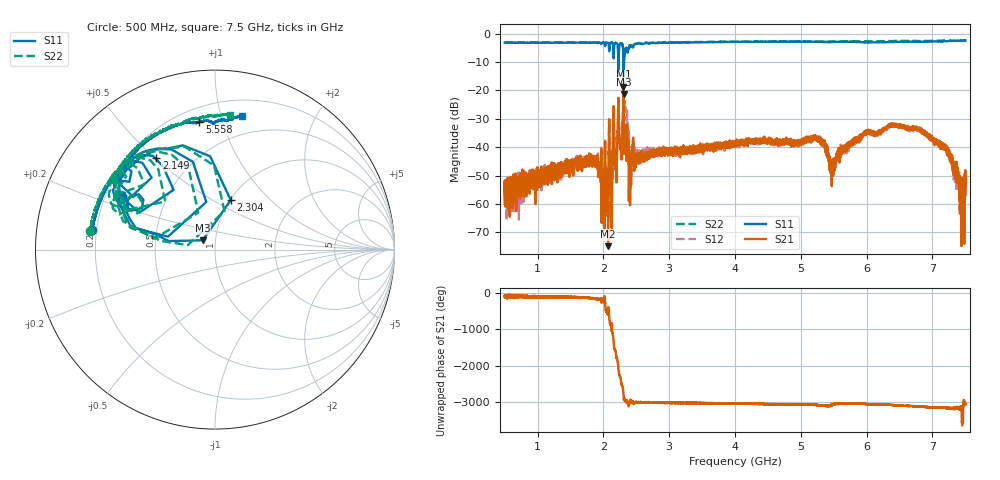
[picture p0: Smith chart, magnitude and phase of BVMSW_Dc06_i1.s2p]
!Keysight Technologies,M9374A,MY55442783,A.12.55.05
!Date: Friday, May 21, 2021 09:35:37
!Correction: S11(Full 2 Port(1,2))
!S21(Full 2 Port(1,2))
!S12(Full 2 Port(1,2))
!S22(Full 2 Port(1,2))
!S2P File: Measurements: S11, S21, S12, S22:
# Hz S  RI  R 50
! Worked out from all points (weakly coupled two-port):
!   7001 points, 500 MHz to 7.5 GHz, reference 50 ohm
!   highest |S21| = -18.62 dB at 2.306 GHz (marker M1); lowest = -74.8 dB at 2.072 GHz (marker M2)
!   lowest |S11| = -21.3 dB at 2.308 GHz (marker M3), VSWR 1.19, Z = 43.4 + j4.51 ohm
!   |S11| at or under -10 dB: 2.227502 GHz to 2.233417 GHz (5.915 MHz wide, 0.265 % of centre); 2.303679 GHz to 2.314767 GHz (11.09 MHz wide, 0.48 % of centre)
!   |S22| runs from -22.9 to -2.4 dB; largest |S21 - S12| = 0.054
!   S11 on the Smith chart (normalised r, x): 500 MHz: 0.18, +0.08; 2.149 GHz: 0.31, +0.51; 2.304 GHz: 1.01, +0.61; 5.558 GHz: 0.29, +0.84; 7.5 GHz: 0.33, +1.16
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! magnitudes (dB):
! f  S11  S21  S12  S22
! 500 MHz  -3.2  -53.7  -57.1  -3.0
! 1.667 GHz  -3.2  -46.6  -46.3  -3.0
! 1.882 GHz  -3.2  -45.2  -45.3  -3.0
! 2.041 GHz  -3.2  -52.0  -50.4  -3.1
! 2.072 GHz  -3.2  -74.8  -62.1  -3.1
! 2.149 GHz  -4.4  -34.4  -33.6  -4.5
! 2.304 GHz  -10.8  -19.7  -19.7  -13.1
! 2.306 GHz  -14.9  -18.6  -18.8  -19.3
! 2.308 GHz  -21.3  -21.3  -22.1  -16.3
! 2.336 GHz  -5.4  -35.8  -26.8  -5.1
! 2.426 GHz  -4.3  -45.8  -46.9  -4.0
! 2.834 GHz  -3.3  -41.4  -42.0  -3.1
! 4 GHz  -2.9  -39.5  -38.9  -2.9
! 5.167 GHz  -2.8  -37.3  -37.0  -2.7
! 5.336 GHz  -2.9  -37.9  -37.9  -2.8
! 5.473 GHz  -2.9  -47.9  -48.4  -2.8
! 5.558 GHz  -2.9  -41.6  -44.5  -2.7
! 6.334 GHz  -2.9  -32.6  -32.9  -2.6
! 7.165 GHz  -2.7  -39.3  -39.2  -2.5
! 7.364 GHz  -2.5  -48.4  -46.8  -2.4
! 7.448 GHz  -2.4  -56.5  -56.1  -2.4
! 7.5 GHz  -2.4  -48.6  -51.4  -2.4
